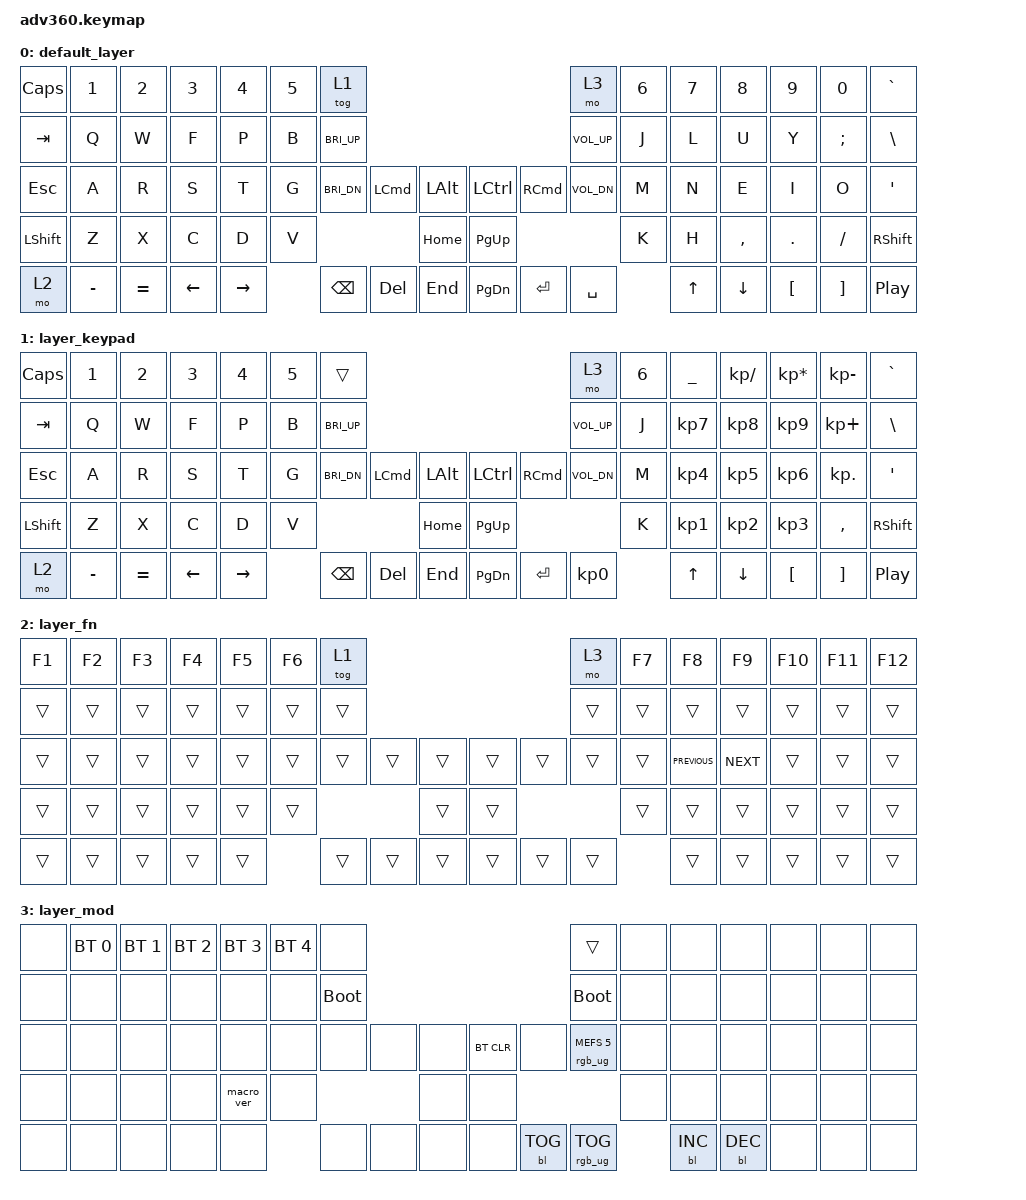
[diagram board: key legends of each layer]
/*
 * Copyright (c) 2020 The ZMK Contributors
 *
 * SPDX-License-Identifier: MIT
 */
/* THIS FILE WAS GENERATED!
 *
 * This file was generated automatically. You may or may not want to
 * edit it directly.
 */

#include <behaviors.dtsi>
#include <dt-bindings/zmk/backlight.h>
#include <dt-bindings/zmk/bt.h>
#include <dt-bindings/zmk/keys.h>
#include <dt-bindings/zmk/rgb.h>

/ {
    behaviors {
        #include "macros.dtsi"
    #include "version.dtsi"

        hm: homerow_mods {
            compatible = "zmk,behavior-hold-tap";
            label = "HOMEROW_MODS";
            #binding-cells = <2>;
            tapping-term-ms = <200>;
            quick_tap_ms = <175>;
            flavor = "tap-preferred";
            bindings = <&kp>, <&kp>;
        };
    };

    keymap {
        compatible = "zmk,keymap";

        default_layer {
            bindings = <
&kp CAPS   &kp N1     &kp N2     &kp N3    &kp N4     &kp N5  &tog 1                                                                             &mo 3         &kp N6  &kp N7  &kp N8     &kp N9    &kp N0    &kp GRAVE
&kp TAB    &kp Q      &kp W      &kp F     &kp P      &kp B   &kp C_BRI_UP                                                                       &kp C_VOL_UP  &kp J   &kp L   &kp U      &kp Y     &kp SEMI  &kp BSLH
&kp ESC    &kp A      &kp R      &kp S     &kp T      &kp G   &kp C_BRI_DN  &kp LEFT_COMMAND  &kp LALT      &kp LEFT_CONTROL  &kp RIGHT_COMMAND  &kp C_VOL_DN  &kp M   &kp N   &kp E      &kp I     &kp O     &kp SQT
&kp LSHFT  &kp Z      &kp X      &kp C     &kp D      &kp V                                   &kp HOME      &kp PG_UP                                          &kp K   &kp H   &kp COMMA  &kp DOT   &kp FSLH  &kp RSHFT
&mo 2      &kp MINUS  &kp EQUAL  &kp LEFT  &kp RIGHT          &kp BSPC      &kp DEL           &kp END       &kp PG_DN         &kp ENTER          &kp SPACE             &kp UP  &kp DOWN   &kp LBKT  &kp RBKT  &kp C_PP
            >;
        };

        layer_keypad {
            bindings = <
&kp CAPS   &kp N1     &kp N2     &kp N3    &kp N4     &kp N5  &trans                                                                             &mo 3         &kp N6  &kp UNDER  &kp KP_SLASH  &kp KP_MULTIPLY  &kp KP_MINUS  &kp GRAVE
&kp TAB    &kp Q      &kp W      &kp F     &kp P      &kp B   &kp C_BRI_UP                                                                       &kp C_VOL_UP  &kp J   &kp KP_N7  &kp KP_N8     &kp KP_N9        &kp KP_PLUS   &kp BSLH
&kp ESC    &kp A      &kp R      &kp S     &kp T      &kp G   &kp C_BRI_DN  &kp LEFT_COMMAND  &kp LALT      &kp LEFT_CONTROL  &kp RIGHT_COMMAND  &kp C_VOL_DN  &kp M   &kp KP_N4  &kp KP_N5     &kp KP_N6        &kp KP_DOT    &kp SQT
&kp LSHFT  &kp Z      &kp X      &kp C     &kp D      &kp V                                   &kp HOME      &kp PG_UP                                          &kp K   &kp KP_N1  &kp KP_N2     &kp KP_N3        &kp COMMA     &kp RSHFT
&mo 2      &kp MINUS  &kp EQUAL  &kp LEFT  &kp RIGHT          &kp BSPC      &kp DEL           &kp END       &kp PG_DN         &kp ENTER          &kp KP_N0             &kp UP     &kp DOWN      &kp LBKT         &kp RBKT      &kp C_PP
            >;
        };

        layer_fn {
            bindings = <
&kp F1  &kp F2  &kp F3  &kp F4  &kp F5  &kp F6  &tog 1                                      &mo 3   &kp F7  &kp F8          &kp F9      &kp F10  &kp F11  &kp F12
&trans  &trans  &trans  &trans  &trans  &trans  &trans                                      &trans  &trans  &trans          &trans      &trans   &trans   &trans
&trans  &trans  &trans  &trans  &trans  &trans  &trans  &trans  &trans      &trans  &trans  &trans  &trans  &kp C_PREVIOUS  &kp C_NEXT  &trans   &trans   &trans
&trans  &trans  &trans  &trans  &trans  &trans                  &trans      &trans                  &trans  &trans          &trans      &trans   &trans   &trans
&trans  &trans  &trans  &trans  &trans          &trans  &trans  &trans      &trans  &trans  &trans          &trans          &trans      &trans   &trans   &trans
            >;
        };

        layer_mod {
            bindings = <
&none  &bt BT_SEL 0  &bt BT_SEL 1  &bt BT_SEL 2  &bt BT_SEL 3  &bt BT_SEL 4  &none                                                  &trans                  &none  &none       &none       &none  &none  &none
&none  &none         &none         &none         &none         &none         &bootloader                                            &bootloader             &none  &none       &none       &none  &none  &none
&none  &none         &none         &none         &none         &none         &none        &none  &none      &bt BT_CLR  &none       &rgb_ug RGB_MEFS_CMD 5  &none  &none       &none       &none  &none  &none
&none  &none         &none         &none         &macro_ver    &none                             &none      &none                                           &none  &none       &none       &none  &none  &none
&none  &none         &none         &none         &none                       &none        &none  &none      &none       &bl BL_TOG  &rgb_ug RGB_TOG                &bl BL_INC  &bl BL_DEC  &none  &none  &none
            >;
        };
    };
};
